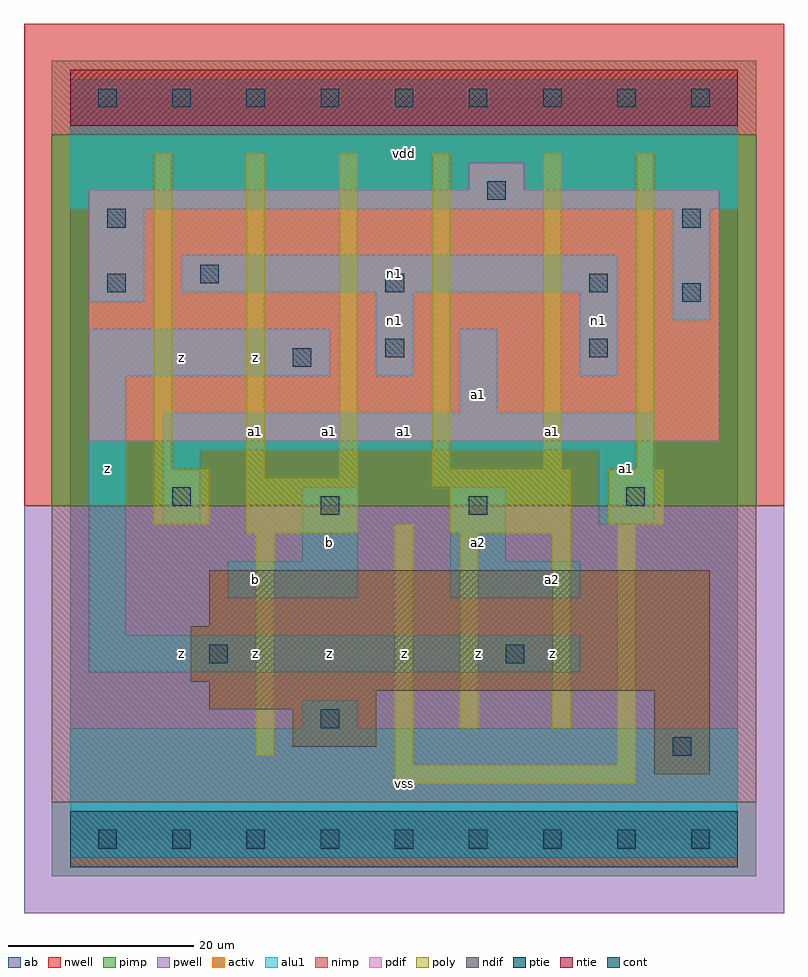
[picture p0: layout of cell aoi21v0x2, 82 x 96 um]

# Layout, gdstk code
import gdstk
lib = gdstk.Library(unit=1e-6, precision=1e-09)
def R(c, l, rs):  # rectangles x0, y0, x1, y1
    for r in rs: c.add(gdstk.rectangle(r[:2], r[2:], *l))
def A(c, l, x, y, w, h, nx, ny, dx, dy):  # array of equal rectangles
    R(c, l, [(x+i*dx, y+j*dy, x+i*dx+w, y+j*dy+h) for i in range(nx) for j in range(ny)])
ndif = (3, 0)
pdif = (4, 0)
ntie = (5, 0)
ptie = (6, 0)
cont = (25, 0)
pwell = (41, 0)
nwell = (42, 0)
activ = (43, 0)
pimp = (44, 0)
nimp = (45, 0)
poly = (46, 0)
alu1 = (49, 0)
ab = (63, 0)

aoi21v0x2 = lib.new_cell('aoi21v0x2')
R(aoi21v0x2, ndif, [(63,7,69,16), (24,10,33,14), (15,14,33,16), (15,16,69,17), (13,17,69,23), (15,23,69,29)])
R(aoi21v0x2, pdif, [(2,43,70,70), (43,70,49,73)])
R(aoi21v0x2, ntie, [(0,77,72,83)])
R(aoi21v0x2, ptie, [(0,-3,72,3)])
A(aoi21v0x2, cont, 3, -1, 2, 2, 9, 2, 8, 80)
R(aoi21v0x2, cont, [(65,9,67,11), (27,12,29,14), (15,19,17,21), (47,19,49,21), (27,35,29,37), (43,35,45,37), (11,36,13,38), (60,36,62,38), (24,51,26,53), (34,52,36,54), (56,52,58,54), (66,58,68,60), (4,59,6,61), (34,59,36,61), (56,59,58,61), (14,60,16,62), (4,66,6,68), (66,66,68,68), (45,69,47,71)])
R(aoi21v0x2, pwell, [(-5,-8,77,36)])
R(aoi21v0x2, nwell, [(-5,36,77,88)])
R(aoi21v0x2, activ, [(0,-3,72,3), (63,7,69,16), (24,10,33,14), (15,14,33,16), (15,16,69,17), (13,17,69,23), (15,23,69,29), (2,43,70,70), (43,70,49,73), (0,77,72,83)])
R(aoi21v0x2, pimp, [(-2,-4,74,4), (-2,36,74,76)])
R(aoi21v0x2, nimp, [(-2,4,74,36), (-2,76,74,84)])
R(aoi21v0x2, poly, [(35,6,61,8), (35,8,37,34), (59,8,61,34), (20,9,22,33), (42,12,44,33), (52,12,54,33), (19,33,31,39), (41,33,54,38), (9,34,15,40), (58,34,64,40), (39,38,54,40), (19,39,21,74), (29,39,31,74), (9,40,11,74), (39,40,41,74), (51,40,53,74), (61,40,63,74)])
R(aoi21v0x2, alu1, [(0,-2,72,12), (25,12,31,15), (2,18,55,22), (2,22,6,50), (17,26,31,30), (41,26,55,30), (25,30,31,38), (41,30,47,38), (10,34,14,42), (57,34,63,42), (10,42,63,46), (42,46,46,55), (2,50,28,55), (33,50,37,59), (55,50,59,59), (65,56,69,68), (2,58,8,68), (12,59,59,63), (0,68,72,82)])
R(aoi21v0x2, ab, [(0,0,72,80)])
aoi21v0x2.add(gdstk.Label('n1', (35,56), layer=49, texttype=0))
aoi21v0x2.add(gdstk.Label('n1', (57,56), layer=49, texttype=0))
aoi21v0x2.add(gdstk.Label('n1', (35,61), layer=49, texttype=0))
aoi21v0x2.add(gdstk.Label('z', (12,20), layer=49, texttype=0))
aoi21v0x2.add(gdstk.Label('z', (4,40), layer=49, texttype=0))
aoi21v0x2.add(gdstk.Label('z', (12,52), layer=49, texttype=0))
aoi21v0x2.add(gdstk.Label('z', (28,20), layer=49, texttype=0))
aoi21v0x2.add(gdstk.Label('z', (20,20), layer=49, texttype=0))
aoi21v0x2.add(gdstk.Label('b', (20,28), layer=49, texttype=0))
aoi21v0x2.add(gdstk.Label('b', (28,32), layer=49, texttype=0))
aoi21v0x2.add(gdstk.Label('a1', (28,44), layer=49, texttype=0))
aoi21v0x2.add(gdstk.Label('a1', (20,44), layer=49, texttype=0))
aoi21v0x2.add(gdstk.Label('z', (20,52), layer=49, texttype=0))
aoi21v0x2.add(gdstk.Label('vss', (36,6), layer=49, texttype=0))
aoi21v0x2.add(gdstk.Label('z', (44,20), layer=49, texttype=0))
aoi21v0x2.add(gdstk.Label('z', (52,20), layer=49, texttype=0))
aoi21v0x2.add(gdstk.Label('z', (36,20), layer=49, texttype=0))
aoi21v0x2.add(gdstk.Label('a2', (44,32), layer=49, texttype=0))
aoi21v0x2.add(gdstk.Label('a2', (52,28), layer=49, texttype=0))
aoi21v0x2.add(gdstk.Label('a1', (52,44), layer=49, texttype=0))
aoi21v0x2.add(gdstk.Label('a1', (36,44), layer=49, texttype=0))
aoi21v0x2.add(gdstk.Label('a1', (44,48), layer=49, texttype=0))
aoi21v0x2.add(gdstk.Label('vdd', (36,74), layer=49, texttype=0))
aoi21v0x2.add(gdstk.Label('a1', (60,40), layer=49, texttype=0))

lib.write_gds('aoi21v0x2.gds')
